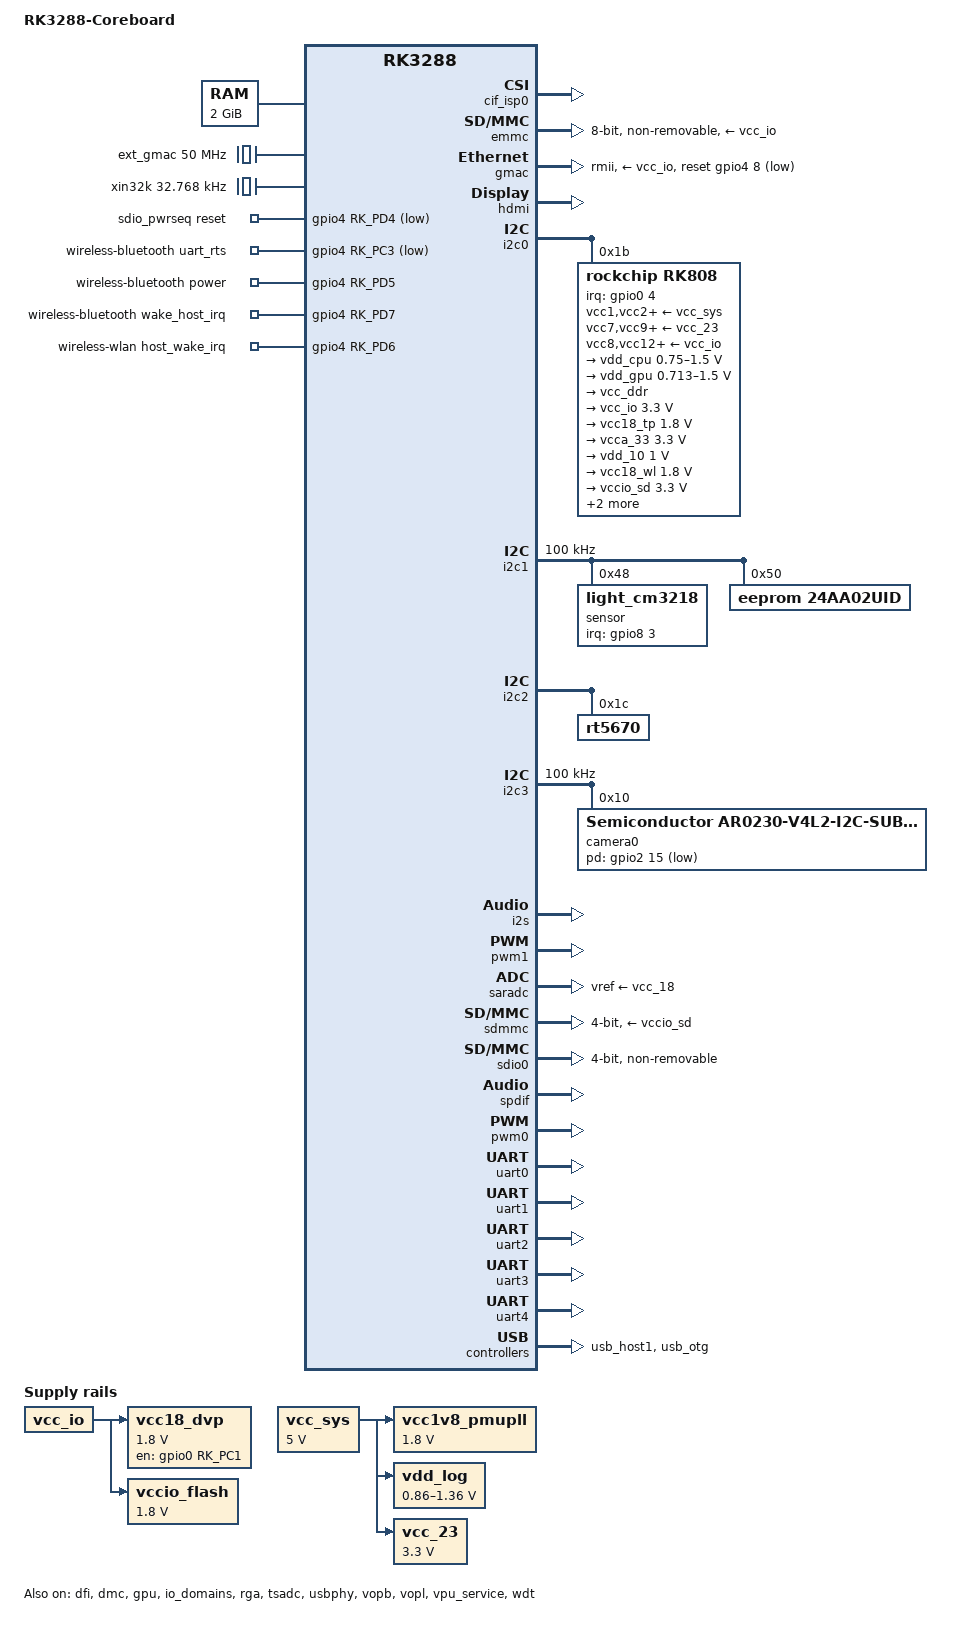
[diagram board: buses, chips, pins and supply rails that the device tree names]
/*
 * Copyright (c) 2014, 2015 FUKAUMI Naoki <naobsd@gmail.com>
 *
 * This file is dual-licensed: you can use it either under the terms
 * of the GPL or the X11 license, at your option. Note that this dual
 * licensing only applies to this file, and not this project as a
 * whole.
 *
 *  a) This file is free software; you can redistribute it and/or
 *     modify it under the terms of the GNU General Public License as
 *     published by the Free Software Foundation; either version 2 of the
 *     License, or (at your option) any later version.
 *
 *     This file is distributed in the hope that it will be useful,
 *     but WITHOUT ANY WARRANTY; without even the implied warranty of
 *     MERCHANTABILITY or FITNESS FOR A PARTICULAR PURPOSE.  See the
 *     GNU General Public License for more details.
 *
 * Or, alternatively,
 *
 *  b) Permission is hereby granted, free of charge, to any person
 *     obtaining a copy of this software and associated documentation
 *     files (the "Software"), to deal in the Software without
 *     restriction, including without limitation the rights to use,
 *     copy, modify, merge, publish, distribute, sublicense, and/or
 *     sell copies of the Software, and to permit persons to whom the
 *     Software is furnished to do so, subject to the following
 *     conditions:
 *
 *     The above copyright notice and this permission notice shall be
 *     included in all copies or substantial portions of the Software.
 *
 *     THE SOFTWARE IS PROVIDED "AS IS", WITHOUT WARRANTY OF ANY KIND,
 *     EXPRESS OR IMPLIED, INCLUDING BUT NOT LIMITED TO THE WARRANTIES
 *     OF MERCHANTABILITY, FITNESS FOR A PARTICULAR PURPOSE AND
 *     NONINFRINGEMENT. IN NO EVENT SHALL THE AUTHORS OR COPYRIGHT
 *     HOLDERS BE LIABLE FOR ANY CLAIM, DAMAGES OR OTHER LIABILITY,
 *     WHETHER IN AN ACTION OF CONTRACT, TORT OR OTHERWISE, ARISING
 *     FROM, OUT OF OR IN CONNECTION WITH THE SOFTWARE OR THE USE OR
 *     OTHER DEALINGS IN THE SOFTWARE.
 */

/dts-v1/;
#include "rk3288.dtsi"
#include "rk3288-linux.dtsi"
#include <dt-bindings/sensor-dev.h>

/ {
	model = "RK3288-Coreboard";
	compatible = "rk3288-core, board", "rockchip,rk3288";

	memory {
		device_type = "memory";
		reg = <0x0 0x0 0x0 0x80000000>;
	};

	ext_gmac: external-gmac-clock {
		compatible = "fixed-clock";
		#clock-cells = <0>;
		clock-frequency = <50000000>;
		clock-output-names = "ext_gmac";
	};
/*
	hall_sensor: hall-mh248 {
		compatible = "hall-mh248";
		pinctrl-names = "default";
		pinctrl-0 = <&mh248_irq_gpio>;
		irq-gpio = <&gpio5 18 IRQ_TYPE_EDGE_BOTH>;
		hall-active = <1>;
		status = "okay";
	};
*/
	xin32k: xin32k {
		compatible = "fixed-clock";
		clock-frequency = <32768>;
		clock-output-names = "xin32k";
		#clock-cells = <0>;
	};

	sdio_pwrseq: sdio-pwrseq {
		compatible = "mmc-pwrseq-simple";
		pinctrl-names = "default";
		pinctrl-0 = <&wifi_enable_h>;

		/*
		 * On the module itself this is one of these (depending
		 * on the actual card populated):
		 * - SDIO_RESET_L_WL_REG_ON
		 * - PDN (power down when low)
		 */
		reset-gpios = <&gpio4 RK_PD4 GPIO_ACTIVE_LOW>;
	};

	sound: sound {
		status = "okay";
		compatible = "simple-audio-card";
		simple-audio-card,format = "i2s";
		simple-audio-card,name = "rockchip,sound";
		simple-audio-card,mclk-fs = <256>;
		simple-audio-card,widgets =
			"Microphone", "Mic Jack",
			"Headphone", "Headphone Jack";
		simple-audio-card,routing =
			"Mic Jack", "MICBIAS1",
			"IN1P", "Mic Jack",
			"Headphone Jack", "HPOL",
			"Headphone Jack", "HPOR";

		simple-audio-card,dai-link@0 {
			format = "i2s";
			cpu {
				sound-dai = <&i2s>;
			};

			codec {
				sound-dai = <&rt5670>;
			};
		};
	};

	vcc_sys: vcc-sys {
		compatible = "regulator-fixed";
		regulator-name = "vcc_sys";
		regulator-min-microvolt = <5000000>;
		regulator-max-microvolt = <5000000>;
		regulator-always-on;
		regulator-boot-on;
	};

	vcc1v8_pmupll: vcc1v8-pmupll {
		compatible = "regulator-fixed";
		regulator-name = "vcc1v8_pmupll";
		regulator-min-microvolt = <1800000>;
		regulator-max-microvolt = <1800000>;
		vin-supply = <&vcc_sys>;
	};

	vdd_log: vdd-log {
		compatible = "pwm-regulator";
		rockchip,pwm_id = <1>;
		rockchip,pwm_voltage = <1100000>;
		pwms = <&pwm1 0 25000 1>;
		regulator-name = "vcc_log";
		regulator-min-microvolt = <860000>;
		regulator-max-microvolt = <1360000>;
		regulator-always-on;
		regulator-boot-on;
		vin-supply = <&vcc_sys>;
		status = "okay";
	};

	vcc_23: vcc-23 {
		compatible = "regulator-fixed";
		regulator-name = "vcc_23";
		regulator-min-microvolt = <3300000>;
		regulator-max-microvolt = <3300000>;
		vin-supply = <&vcc_sys>;
	};

	vcc18_dvp: vcc18-dvp {
                compatible = "regulator-fixed";
                regulator-name = "vcc18_dvp";
                regulator-min-microvolt = <1800000>;
                regulator-max-microvolt = <1800000>;
                gpio = <&gpio0 RK_PC1 GPIO_ACTIVE_HIGH>;
                enable-active-high;
                regulator-always-on;
                vin-supply = <&vcc_io>;
        };

	vccio_flash: vccio-flash {
 		compatible = "regulator-fixed";
		regulator-name = "vccio_flash";
		regulator-min-microvolt = <1800000>;
		regulator-max-microvolt = <1800000>;
		vin-supply = <&vcc_io>;  
	};

	wireless-bluetooth {
		compatible = "bluetooth-platdata";
		clocks = <&rk808 1>;
		clock-names = "ext_clock";
		uart_rts_gpios = <&gpio4 RK_PC3 GPIO_ACTIVE_LOW>;
		pinctrl-names = "default", "rts_gpio";
		pinctrl-0 = <&uart0_rts>;
		pinctrl-1 = <&uart0_rts_gpio>;
		BT,power_gpio    = <&gpio4 RK_PD5 GPIO_ACTIVE_HIGH>;
		BT,wake_host_irq = <&gpio4 RK_PD7 GPIO_ACTIVE_HIGH>;
		status = "okay";
	};

	wireless-wlan {
		compatible = "wlan-platdata";
		rockchip,grf = <&grf>;
		wifi_chip_type = "ap6210";

		WIFI,host_wake_irq = <&gpio4 RK_PD6 GPIO_ACTIVE_HIGH>;
		status = "okay";
	};
};

&cif_isp0 {
	rockchip,camera-modules-attached = <&camera0>;
	status = "okay";
};

&cpu0 {
	cpu-supply = <&vdd_cpu>;
};

&dfi {
	status = "okay";
};

&dmc {
	center-supply = <&vdd_log>;
	status = "okay";
};

&emmc {
	bus-width = <8>;
	cap-mmc-highspeed;
	disable-wp;
	non-removable;
	num-slots = <1>;
	pinctrl-names = "default";
	pinctrl-0 = <&emmc_clk>, <&emmc_cmd>, <&emmc_pwr>, <&emmc_bus8>;
	vmmc-supply = <&vcc_io>;
	vqmmc-supply = <&vccio_flash>;
	status = "okay";
};

&gmac {
	assigned-clocks = <&cru SCLK_MAC>;
	assigned-clock-parents = <&ext_gmac>;
	clock_in_out = "input";
	pinctrl-names = "default";
	pinctrl-0 = <&rmii_pins>;
	phy-supply = <&vcc_io>;
	phy-mode = "rmii";
	snps,reset-active-low;
	snps,reset-delays-us = <0 15000 1000000>;
	snps,reset-gpio = <&gpio4 8 GPIO_ACTIVE_LOW>;
	tx_delay = <0x30>;
	rx_delay = <0x10>;
	status = "okay";
};

&gpu {
	mali-supply = <&vdd_gpu>;
	status = "okay";
};

&hdmi {
	status = "okay";
};

&i2c0 {
	status = "okay";

	rk808: pmic@1b {
		compatible = "rockchip,rk808";
		reg = <0x1b>;
		interrupt-parent = <&gpio0>;
		interrupts = <4 IRQ_TYPE_LEVEL_LOW>;
		pinctrl-names = "default";
		pinctrl-0 = <&pmic_int &global_pwroff>;
		//pinctrl-0 = <&pmic_vsel>, <&pwr_hold>;
		rockchip,system-power-controller;
		wakeup-source;
		#clock-cells = <1>;
		clock-output-names = "rk808-clkout1", "rk808-clkout2";
		vcc1-supply = <&vcc_sys>;
		vcc2-supply = <&vcc_sys>;
		vcc3-supply = <&vcc_sys>;
		vcc4-supply = <&vcc_sys>;
		vcc6-supply = <&vcc_sys>;
		vcc7-supply = <&vcc_23>;
		vcc8-supply = <&vcc_io>;
		vcc9-supply = <&vcc_23>;
		vcc10-supply = <&vcc_23>;
		vcc11-supply = <&vcc_sys>;
		vcc12-supply = <&vcc_io>;
		vddio-supply = <&vcc_io>;

		regulators {
			vdd_cpu: DCDC_REG1 {
				regulator-always-on;
				regulator-boot-on;
				regulator-min-microvolt = <750000>;
				regulator-max-microvolt = <1500000>;
				regulator-name = "vdd_arm";
				regulator-state-mem {
					regulator-on-in-suspend;
					regulator-suspend-microvolt = <1000000>;
				};
			};

			vdd_gpu: DCDC_REG2 {
				regulator-always-on;
				regulator-boot-on;
				regulator-min-microvolt = <712500>;
				regulator-max-microvolt = <1500000>;
				regulator-name = "vdd_gpu";
				regulator-ramp-delay = <6000>;
				regulator-state-mem {
					regulator-on-in-suspend;
					regulator-suspend-microvolt = <1000000>;
				};
			};

			vcc_ddr: DCDC_REG3 {
				regulator-always-on;
				regulator-boot-on;
				regulator-name = "vcc_ddr";
				regulator-state-mem {
					regulator-on-in-suspend;
				};
			};

			vcc_io: DCDC_REG4 {
				regulator-always-on;
				regulator-boot-on;
				regulator-min-microvolt = <3300000>;
				regulator-max-microvolt = <3300000>;
				regulator-name = "vcc_io";
				regulator-state-mem {
					regulator-on-in-suspend;
					regulator-suspend-microvolt = <3300000>;
				};
			};

			vcc18_tp: LDO_REG1 {
				regulator-always-on;
				regulator-boot-on;
				regulator-min-microvolt = <1800000>;
				regulator-max-microvolt = <1800000>;
				regulator-name = "vcc18_tp";
				regulator-state-mem {
					regulator-on-in-suspend;
					regulator-suspend-microvolt = <1800000>;
				};
			};

			vcca_33: LDO_REG2 {
				regulator-always-on;
				regulator-boot-on;
				regulator-min-microvolt = <3300000>;
				regulator-max-microvolt = <3300000>;
				regulator-name = "vcca_33";
				regulator-state-mem {
					regulator-off-in-suspend;
				};
			};

			vdd_10: LDO_REG3 {
				regulator-always-on;
				regulator-boot-on;
				regulator-min-microvolt = <1000000>;
				regulator-max-microvolt = <1000000>;
				regulator-name = "vdd_10";
				regulator-state-mem {
					regulator-on-in-suspend;
					regulator-suspend-microvolt = <1000000>;
				};
			};

			vcc18_wl: LDO_REG4 {
				regulator-always-on;
				regulator-boot-on;
				regulator-min-microvolt = <1800000>;
				regulator-max-microvolt = <1800000>;
				regulator-name = "vcc18_wl";
				regulator-state-mem {
					regulator-on-in-suspend;
					regulator-suspend-microvolt = <1800000>;
				};
			};

			vccio_sd: LDO_REG5 {
				regulator-always-on;
				regulator-boot-on;
				regulator-min-microvolt = <3300000>;
				regulator-max-microvolt = <3300000>;
				regulator-name = "vccio_sd";
				regulator-state-mem {
					regulator-on-in-suspend;
					regulator-suspend-microvolt = <3300000>;
				};
			};

			vdd10_lcd: LDO_REG6 {
				regulator-always-on;
				regulator-boot-on;
				regulator-min-microvolt = <1000000>;
				regulator-max-microvolt = <1000000>;
				regulator-name = "vdd10_lcd";
				regulator-state-mem {
					regulator-on-in-suspend;
					regulator-suspend-microvolt = <1000000>;
				};
			};

			vcc_18: LDO_REG7 {
				regulator-always-on;
				regulator-boot-on;
				regulator-min-microvolt = <1800000>;
				regulator-max-microvolt = <1800000>;
				regulator-name = "vcc_18";
				regulator-state-mem {
					regulator-on-in-suspend;
					regulator-suspend-microvolt = <1800000>;
				};
			};

			vcc18_lcd: LDO_REG8 {
				regulator-always-on;
				regulator-boot-on;
				regulator-min-microvolt = <1800000>;
				regulator-max-microvolt = <1800000>;
				regulator-name = "vcc18_lcd";
				regulator-state-mem {
					regulator-on-in-suspend;
					regulator-suspend-microvolt = <1800000>;
				};
			};

			vcc33_sd: SWITCH_REG1 {
				regulator-always-on;
				regulator-boot-on;
				regulator-name = "vcc33_sd";
				regulator-min-microvolt = <3300000>;
				regulator-max-microvolt = <3300000>;
				regulator-state-mem {
					regulator-on-in-suspend;
				};
			};

			vcc33_lcd: SWITCH_REG2 {
				regulator-always-on;
				regulator-boot-on;
				regulator-name = "vcc33_lcd";
				regulator-min-microvolt = <3300000>;
				regulator-max-microvolt = <3300000>;
				regulator-state-mem {
					regulator-on-in-suspend;
				};
			};
		};
	};
};

&i2c1 {
	status = "okay";
	clock-frequency = <100000>;

	mpu6500@68 {
		status = "disabled";
		compatible = "invensense,mpu6500";
		pinctrl-names = "default";
		pinctrl-0 = <&mpu6500_irq_gpio>;
		reg = <0x68>;
		irq-gpio = <&gpio8 2 IRQ_TYPE_EDGE_RISING>;
		mpu-int_config = <0x10>;
		mpu-level_shifter = <0>;
		mpu-orientation = <1 0 0 0 1 0 0 0 1>;
		orientation-x= <1>;
		orientation-y= <1>;
		orientation-z= <0>;
		support-hw-poweroff = <1>;
		mpu-debug = <1>;
	};

	sensor@48 {
		status = "okay";
		compatible = "light_cm3218";
		pinctrl-names = "default";
		pinctrl-0 = <&cm3218_irq_gpio>;
		reg = <0x48>;
		type = <SENSOR_TYPE_LIGHT>;
		irq-gpio = <&gpio8 3 IRQ_TYPE_EDGE_FALLING>;
		irq_enable = <1>;
		poll_delay_ms = <30>;
	};
	
	eeprom@50 {
		status = "okay";
		compatible = "eeprom,24AA02UID";
		reg = <0x50>;
		pagesize = <8>;
	};
};

&i2c2 {
	status = "okay";

	rt5670: rt5670@1c {
		#sound-dai-cells = <0>;
		compatible = "rt5670";
		reg = <0x1c>;
		clocks = <&cru SCLK_I2S0_OUT>;
		clock-names = "mclk";
	//	spk-con-gpio = <&gpio7 15 GPIO_ACTIVE_HIGH>;
		pinctrl-names = "default";
		pinctrl-0 = <&i2s0_mclk>;
	};
};

&i2c3 {
	status = "okay";
	clock-frequency = <100000>;

	camera0: camera-module@10 {
		status = "okay";
		compatible ="Semiconductor,ar0230-v4l2-i2c-subdev";
		reg = <0x10>;
		device_type = "v4l2-i2c-subdev";

		clocks = <&cru SCLK_VIP_OUT>;
		clock-names = "clk_cif_out";

		pinctrl-names = "rockchip,camera_default", "rockchip,camera_sleep";
		pinctrl-0 = <&isp_dvp_pins>;
		pinctrl-1 = <&isp_dvp_sleep>;

		rockchip,pd-gpio = <&gpio2 15 GPIO_ACTIVE_LOW>;
               // rockchip,pwr-gpio = <&gpio0 17 GPIO_ACTIVE_HIGH>;

		rockchip,camera-module-mclk-name = "clk_cif_out";
		rockchip,camera-module-facing = "back";
		rockchip,camera-module-name = "cmk-cb0695-fv1";
		rockchip,camera-module-len-name = "lg9569a2";
		rockchip,camera-module-fov-h = "60.0";
		rockchip,camera-module-fov-v = "60.0";
		rockchip,camera-module-orientation = <0>;
		rockchip,camera-module-iq-flip = <0>;
		rockchip,camera-module-iq-mirror = <0>;
		rockchip,camera-module-flip = <0>;
		rockchip,camera-module-mirror = <0>;

		rockchip,camera-module-defrect0 = <1928 1088 0 0 1928 1088>;
		rockchip,camera-module-flash-support = <0>;
		rockchip,camera-module-mipi-dphy-index = <0>;
	};
};

&i2s {
	#sound-dai-cells = <0>;
	status = "okay";
};

&io_domains {
	status = "okay";

	audio-supply = <&vcc_18>;
	bb-supply = <&vcc_io>;
	dvp-supply = <&vcc18_dvp>;
	flash0-supply = <&vccio_flash>;
	flash1-supply = <&vcc_io>;
	gpio30-supply = <&vcc_io>;
	gpio1830-supply = <&vcc_io>;
	lcdc-supply = <&vcc33_lcd>;
	sdcard-supply = <&vccio_sd>;
	wifi-supply = <&vcc18_wl>;
};

&isp_mmu {
	status = "okay";
};

&pwm1 {
        status = "okay";
};

&rga {
	status = "okay";
};

&saradc {
	vref-supply = <&vcc_18>;
	status = "okay";
};


&sdmmc {
	bus-width = <4>;
	cap-mmc-highspeed;
	cap-sd-highspeed;
	card-detect-delay = <200>;
	disable-wp;
	num-slots = <1>;
	pinctrl-names = "default";
	pinctrl-0 = <&sdmmc_clk>, <&sdmmc_cmd>, <&sdmmc_cd>, <&sdmmc_bus4>;
	supports-sd;
	vmmc-supply = <&vccio_sd>;
	vqmmc-supply = <&vccio_sd>;
	status = "okay";
};

&sdio0 {
	clock-frequency = <50000000>;
	clock-freq-min-max = <200000 50000000>;
	bus-width = <4>;
	cap-sd-highspeed;
	cap-sdio-irq;
	disable-wp;
	non-removable;
	num-slots = <1>;
	pinctrl-names = "default";
	pinctrl-0 = <&sdio0_bus4 &sdio0_cmd &sdio0_clk &sdio0_int>;
	mmc-pwrseq = <&sdio_pwrseq>;
	supports-sdio;
	status = "okay";
};

&spdif {
	status = "okay";
};

/*
&spi0 {
	pinctrl-names = "default";
	pinctrl-0 = <&spi0_clk>, <&spi0_cs0>, <&spi0_tx>, <&spi0_rx>, <&spi0_cs1>;
	status = "disabled";
};*/


&tsadc {
	rockchip,hw-tshut-mode = <0>;
	rockchip,hw-tshut-polarity = <0>;
	status = "okay";
};


&pwm0{
	status = "okay";
};

/*
&pwm0 {
	status = "okay";
	interrupts = <GIC_SPI 78 IRQ_TYPE_LEVEL_HIGH 0>;
	compatible = "rockchip,remotectl-pwm";
	remote_pwm_id = <0>;
	handle_cpu_id = <0>;

	ir_key1{
		rockchip,usercode = <0xf933>;
		rockchip,key_table =
			<0x1c   KEY_0>;
	};
};
*/

&uart0 {
	pinctrl-names = "default";
	pinctrl-0 = <&uart0_xfer>, <&uart0_cts>;
	status = "okay";
};

&uart1 {
	status = "okay";
};

&uart2 {
	status = "okay";
};

&uart3 {
	status = "okay";
};

&uart4{
	status = "okay";
};

&usbphy {
	status = "okay";
};

&usb_host1 {
	status = "okay";
};

&usb_otg {
	status = "okay";
};

&vopb {
	status = "okay";
};

&vopb_mmu {
	status = "okay";
};

&vopl {
	status = "okay";
};

&vopl_mmu {
	status = "okay";
};

&vpu_service {
	status = "okay";
};

&wdt {
	status = "okay";
};

&pinctrl {
	pinctrl-names = "default";
	pinctrl-0 = <&board_io_pins>;
	pcfg_output_high: pcfg-output-high {
		output-high;
	};

	pcfg_output_low: pcfg-output-low {
		output-low;
	};

	pcfg_pull_none_drv_8ma: pcfg-pull-none-drv-8ma {
		drive-strength = <8>;
	};

	pcfg_pull_up_drv_8ma: pcfg-pull-up-drv-8ma {
		bias-pull-up;
		drive-strength = <8>;
	};

	board_gpio_pins {
		board_io_pins: baord-io {
			rockchip,pins = 
			<7 9 RK_FUNC_GPIO &pcfg_pull_down>,
			<5 17 RK_FUNC_GPIO &pcfg_pull_up>,
			<5 18 RK_FUNC_GPIO &pcfg_pull_up>,
			<5 19 RK_FUNC_GPIO &pcfg_pull_up>;
		};
	};
	cam_pins {
		cam0_default_pins: cam0-default-pins {
			rockchip,pins = <2 11 RK_FUNC_1 &pcfg_pull_none>;
		};
		cam0_sleep_pins: cam0-sleep-pins {
			rockchip,pins = <2 11 RK_FUNC_GPIO &pcfg_pull_none>;
		};
		isp_dvp_pins: isp-dvp-pins {
			rockchip,pins =
			/*cif_data2*/
			<2 0 RK_FUNC_1 &pcfg_pull_none>,
			/*cif_data3*/
			<2 1 RK_FUNC_1 &pcfg_pull_none>,
			/*cif_data4*/
			<2 2 RK_FUNC_1 &pcfg_pull_none>,
			/*cif_data5*/
			<2 3 RK_FUNC_1 &pcfg_pull_none>,
			/*cif_data6*/
			<2 4 RK_FUNC_1 &pcfg_pull_none>,
			/*cif_data7*/
			<2 5 RK_FUNC_1 &pcfg_pull_none>,
			/*cif_data8*/
			<2 6 RK_FUNC_1 &pcfg_pull_none>,
			/*cif_data9*/
			<2 7 RK_FUNC_1 &pcfg_pull_none>,
			/* cif_vsync */
			<2 8 RK_FUNC_1 &pcfg_pull_none>,
			/* cif_href */
			<2 9 RK_FUNC_1 &pcfg_pull_none>,
			/*cif_clkin*/
			<2 10 RK_FUNC_1 &pcfg_pull_none>,
			/*cif_clkout*/
			<2 11 RK_FUNC_1 &pcfg_pull_none>,
			/*cif_data0*/
			<2 12 RK_FUNC_1 &pcfg_pull_none>,
			/*cif_data1*/
			<2 13 RK_FUNC_1 &pcfg_pull_none>,
			/*cif_data10*/
			<2 14 RK_FUNC_1 &pcfg_pull_none>,
			/*cif_data11*/
			<2 15 RK_FUNC_1 &pcfg_pull_none>;
		};
		isp_dvp_sleep: isp-dvp-sleep {
			rockchip,pins =
			/*cif_data2*/
			<2 0 RK_FUNC_GPIO &pcfg_pull_none>,
			/*cif_data3*/
			<2 1 RK_FUNC_GPIO &pcfg_pull_none>,
			/*cif_data4*/
			<2 2 RK_FUNC_GPIO &pcfg_pull_none>,
			/*cif_data5*/
			<2 3 RK_FUNC_GPIO &pcfg_pull_none>,
			/*cif_data6*/
			<2 4 RK_FUNC_GPIO &pcfg_pull_none>,
			/*cif_data7*/
			<2 5 RK_FUNC_GPIO &pcfg_pull_none>,
			/*cif_data8*/
			<2 6 RK_FUNC_GPIO &pcfg_pull_none>,
			/*cif_data9*/
			<2 7 RK_FUNC_GPIO &pcfg_pull_none>,
			/* cif_vsync */
			<2 8 RK_FUNC_GPIO &pcfg_pull_none>,
			/* cif_href */
			<2 9 RK_FUNC_GPIO &pcfg_pull_none>,
			/*cif_clkin*/
			<2 10 RK_FUNC_GPIO &pcfg_pull_none>,
			/*cif_clkout*/
			<2 11 RK_FUNC_GPIO &pcfg_pull_none>,
			/*cif_data0*/
			<2 12 RK_FUNC_GPIO &pcfg_pull_none>,
			/*cif_data1*/
			<2 13 RK_FUNC_GPIO &pcfg_pull_none>,
			/*cif_data10*/
			<2 14 RK_FUNC_GPIO &pcfg_pull_none>,
			/*cif_data11*/
			<2 15 RK_FUNC_GPIO &pcfg_pull_none>;
		};
	};

	cm3218 {
		cm3218_irq_gpio: cm3218-irq-gpio {
			rockchip,pins = <8 3 RK_FUNC_GPIO &pcfg_pull_up>;
		};
	};
/*
	hallsensor {
		mh248_irq_gpio: mh248-irq-gpio {
			rockchip,pins = <5 18 RK_FUNC_GPIO &pcfg_pull_up>;
		};
	};
*/
	mpu6500 {
		mpu6500_irq_gpio: mpu6500-irq-gpio {
			rockchip,pins = <8 2 RK_FUNC_GPIO &pcfg_pull_none>;
		};
	};

/*	audio {
		spk_stl: spk-ctl {
			rockchip,pins = <7 15 RK_FUNC_GPIO &pcfg_output_high>;
		 };
	};*/

	pmic {
		pmic_int: pmic-int {
			rockchip,pins = <0 4 RK_FUNC_GPIO &pcfg_pull_up>;
		};
	};

	regulator {
		dvp_pwr: dvp-pwr {
			rockchip,pins = <0 17 RK_FUNC_GPIO &pcfg_output_high>;
		 };	
	};

	sdmmc {
		/*
		 * Default drive strength isn't enough to achieve even
		 * high-speed mode on firefly board so bump up to 8ma.
		 */
		sdmmc_bus4: sdmmc-bus4 {
			rockchip,pins = <6 16 RK_FUNC_1 &pcfg_pull_up>,
					<6 17 RK_FUNC_1 &pcfg_pull_up>,
					<6 18 RK_FUNC_1 &pcfg_pull_up>,
					<6 19 RK_FUNC_1 &pcfg_pull_up>;
		};

		sdmmc_clk: sdmmc-clk {
			rockchip,pins = <6 20 RK_FUNC_1 &pcfg_pull_none>;
		};

		sdmmc_cmd: sdmmc-cmd {
			rockchip,pins = <6 21 RK_FUNC_1 &pcfg_pull_up_drv_8ma>;
		};

		sdmmc_pwr: sdmmc-pwr {
			rockchip,pins = <7 11 RK_FUNC_GPIO &pcfg_pull_none>;
		};
	};

	usb_host {
		host_vbus_drv: host-vbus-drv {
			rockchip,pins = <0 14 RK_FUNC_GPIO &pcfg_pull_none>;
		};
	};

	usb_otg {
		otg_vbus_drv: otg-vbus-drv {
			rockchip,pins = <0 12 RK_FUNC_GPIO &pcfg_pull_none>;
		};
	};

	sdio-pwrseq {
		wifi_enable_h: wifi-enable-h {
			rockchip,pins = <4 RK_PD4 RK_FUNC_GPIO &pcfg_pull_none>;
		};
	};
};

